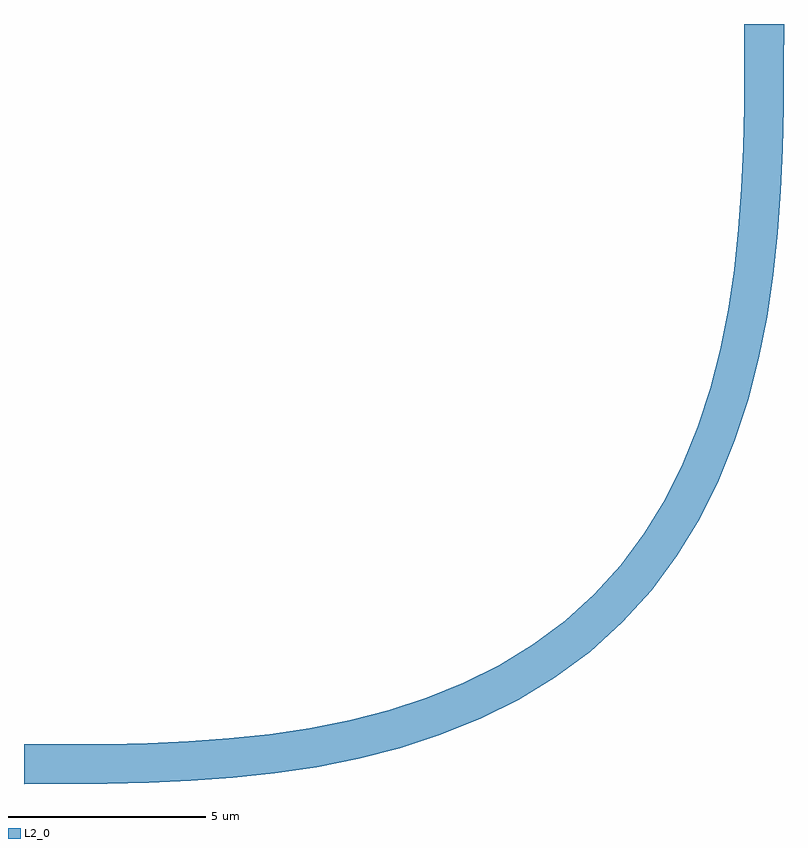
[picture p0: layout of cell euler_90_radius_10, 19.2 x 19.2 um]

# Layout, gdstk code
import gdstk
lib = gdstk.Library(unit=1e-6, precision=1e-09)
L2_0 = (2, 0)

euler_90_radius_10 = lib.new_cell('euler_90_radius_10')
euler_90_radius_10.add(gdstk.FlexPath([(0,0),(1.047,0.001),(2.094,0.01),(3.141,0.033),(4.187,0.078),(5.232,0.152),(6.273,0.263),(7.309,0.417),(8.336,0.622),(9.35,0.883),(10.345,1.208),(11.315,1.601),(12.253,2.068),(13.147,2.611),(13.989,3.233),(14.766,3.935),(15.468,4.712),(16.09,5.554),(16.633,6.448),(17.1,7.386),(17.493,8.356),(17.818,9.351),(18.079,10.365),(18.284,11.392),(18.438,12.428),(18.549,13.469),(18.623,14.513),(18.668,15.56),(18.691,16.607),(18.7,17.654),(18.701,18.701)], 1, ends="flush", simple_path=True, layer=2, datatype=0))  # L2_0

lib.write_gds('euler_90_radius_10.gds')
